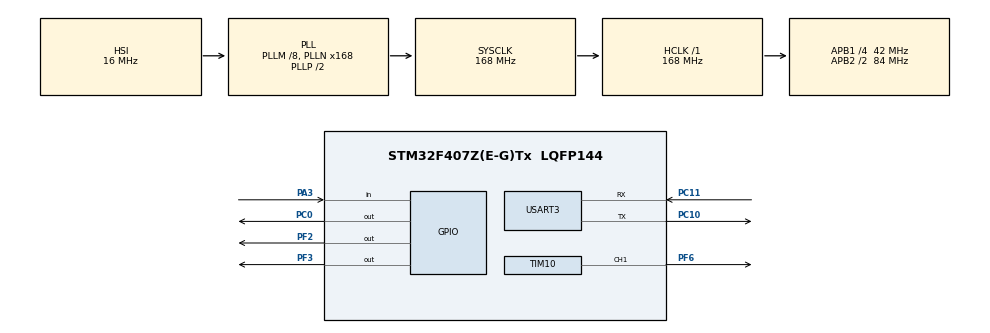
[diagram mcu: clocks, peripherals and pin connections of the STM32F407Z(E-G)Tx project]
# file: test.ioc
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Mcu.Family=STM32F4
Mcu.Name=STM32F407Z(E-G)Tx
Mcu.Package=LQFP144
NVIC.PriorityGroup=NVIC_PRIORITYGROUP_4
PA13.Mode=Serial_Wire
PA13.Signal=SYS_JTMS-SWDIO
PA14.Mode=Serial_Wire
PA14.Signal=SYS_JTCK-SWCLK
PA3.GPIO_PuPd=GPIO_PULLUP
PA3.Signal=GPIO_Input
PC0.PinState=GPIO_PIN_SET
PC0.Signal=GPIO_Output
PC10.Mode=Asynchronous
PC10.Signal=USART3_TX
PC11.Mode=Asynchronous
PC11.Signal=USART3_RX
PC14-OSC32_IN.Mode=LSE-External-Oscillator
PC14-OSC32_IN.Signal=RCC_OSC32_IN
PC15-OSC32_OUT.Mode=LSE-External-Oscillator
PC15-OSC32_OUT.Signal=RCC_OSC32_OUT
PF2.PinState=GPIO_PIN_SET
PF2.Signal=GPIO_Output
PF3.PinState=GPIO_PIN_SET
PF3.Signal=GPIO_Output
PF6.Signal=S_TIM10_CH1
PH0-OSC_IN.Mode=HSE-External-Oscillator
PH0-OSC_IN.Signal=RCC_OSC_IN
PH1-OSC_OUT.Mode=HSE-External-Oscillator
PH1-OSC_OUT.Signal=RCC_OSC_OUT
ProjectManager.HeapSize=0x200
ProjectManager.StackSize=0x400
ProjectManager.TargetToolchain=MDK-ARM V5.32
RCC.48MHZClocksFreq_Value=84000000
RCC.AHBFreq_Value=168000000
RCC.APB1CLKDivider=RCC_HCLK_DIV4
RCC.APB1Freq_Value=42000000
RCC.APB1TimFreq_Value=84000000
RCC.APB2CLKDivider=RCC_HCLK_DIV2
RCC.APB2Freq_Value=84000000
RCC.APB2TimFreq_Value=168000000
RCC.CortexFreq_Value=168000000
RCC.HCLKFreq_Value=168000000
RCC.HSE_VALUE=25000000
RCC.HSI_VALUE=16000000
RCC.PLLM=8
RCC.PLLN=168
RCC.RCC_RTC_Clock_Source=RCC_RTCCLKSOURCE_LSE
RCC.RCC_RTC_Clock_SourceVirtual=RCC_RTCCLKSOURCE_LSE
RCC.SYSCLKFreq_VALUE=168000000
RCC.SYSCLKSource=RCC_SYSCLKSOURCE_PLLCLK
RCC.VCOOutputFreq_Value=336000000
SH.S_TIM10_CH1.0=TIM10_CH1,PWM Generation1 CH1
TIM10.AutoReloadPreload=TIM_AUTORELOAD_PRELOAD_ENABLE
TIM10.Channel=TIM_CHANNEL_1
TIM10.Period=1999
TIM10.Prescaler=1679
USART3.VirtualMode=VM_ASYNC
VP_TIM10_VS_ClockSourceINT.Mode=Enable_Timer
board=custom

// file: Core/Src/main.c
/* USER CODE BEGIN Header */
/**
  ******************************************************************************
  * @file           : main.c
  * @brief          : Main program body
  ******************************************************************************
  * @attention
  *
  * Copyright (c) 2025 STMicroelectronics.
  * All rights reserved.
  *
  * This software is licensed under terms that can be found in the LICENSE file
  * in the root directory of this software component.
  * If no LICENSE file comes with this software, it is provided AS-IS.
  *
  ******************************************************************************
  */
/* USER CODE END Header */
#include "main.h"
#include "tim.h"
#include "usart.h"
#include "gpio.h"

/* USER CODE BEGIN Includes */
#include "stdio.h"
/* USER CODE END Includes */

void SystemClock_Config(void);

/* USER CODE BEGIN 0 */
int fputc(int ch, FILE *f)
{
    HAL_UART_Transmit(&huart3, (uint8_t *)&ch, 1, 1000);
    return ch;
}
/* USER CODE END 0 */

int main(void)
{

  /* USER CODE BEGIN 1 */
	uint32_t MotorOutput=0;
  /* USER CODE END 1 */

  /* MCU Configuration--------------------------------------------------------*/

  /* Reset of all peripherals, Initializes the Flash interface and the Systick. */
  HAL_Init();

  /* Configure the system clock */
  SystemClock_Config();

  /* Initialize all configured peripherals */
  MX_GPIO_Init();
  MX_TIM10_Init();
  MX_USART3_UART_Init();
  /* USER CODE BEGIN 2 */
	 HAL_TIM_PWM_Start(&htim10,TIM_CHANNEL_1);
	 HAL_GPIO_WritePin(GPIOC,GPIO_PIN_0,GPIO_PIN_SET);
	 HAL_GPIO_WritePin(GPIOF,GPIO_PIN_2,GPIO_PIN_RESET);
	 HAL_GPIO_WritePin(GPIOF,GPIO_PIN_3,GPIO_PIN_SET);
  /* USER CODE END 2 */

  /* Infinite loop */
  /* USER CODE BEGIN WHILE */
  while (1)
  {
		if(HAL_GPIO_ReadPin(GPIOA, GPIO_PIN_3) == GPIO_PIN_RESET)//检查按键是否按下
		{
				if(HAL_GPIO_ReadPin(GPIOA, GPIO_PIN_3) == GPIO_PIN_RESET) // 再次确认按下
				{
						MotorOutput += 500;
						if(MotorOutput > 2000) //判断是否大于最大值
								MotorOutput = 0;		//大于最大值清零
						while(HAL_GPIO_ReadPin(GPIOA, GPIO_PIN_3) == GPIO_PIN_RESET);//检查按键是否抬起
				}
		}
		__HAL_TIM_SetCompare(&htim10, TIM_CHANNEL_1, MotorOutput);	//改变PWM占空比
		printf("The MotorOutput is %d\n",MotorOutput);			//输出目前PWM占空比的值
		HAL_Delay(500);
    /* USER CODE END WHILE */

  }
}

void SystemClock_Config(void)
{
  RCC_OscInitTypeDef RCC_OscInitStruct = {0};
  RCC_ClkInitTypeDef RCC_ClkInitStruct = {0};

  /** Configure the main internal regulator output voltage
  */
  __HAL_RCC_PWR_CLK_ENABLE();
  __HAL_PWR_VOLTAGESCALING_CONFIG(PWR_REGULATOR_VOLTAGE_SCALE1);

  /** Initializes the RCC Oscillators according to the specified parameters
  * in the RCC_OscInitTypeDef structure.
  */
  RCC_OscInitStruct.OscillatorType = RCC_OSCILLATORTYPE_HSI;
  RCC_OscInitStruct.HSIState = RCC_HSI_ON;
  RCC_OscInitStruct.HSICalibrationValue = RCC_HSICALIBRATION_DEFAULT;
  RCC_OscInitStruct.PLL.PLLState = RCC_PLL_ON;
  RCC_OscInitStruct.PLL.PLLSource = RCC_PLLSOURCE_HSI;
  RCC_OscInitStruct.PLL.PLLM = 8;
  RCC_OscInitStruct.PLL.PLLN = 168;
  RCC_OscInitStruct.PLL.PLLP = RCC_PLLP_DIV2;
  RCC_OscInitStruct.PLL.PLLQ = 4;
  if (HAL_RCC_OscConfig(&RCC_OscInitStruct) != HAL_OK)
  {
    Error_Handler();
  }

  /** Initializes the CPU, AHB and APB buses clocks
  */
  RCC_ClkInitStruct.ClockType = RCC_CLOCKTYPE_HCLK|RCC_CLOCKTYPE_SYSCLK
                              |RCC_CLOCKTYPE_PCLK1|RCC_CLOCKTYPE_PCLK2;
  RCC_ClkInitStruct.SYSCLKSource = RCC_SYSCLKSOURCE_PLLCLK;
  RCC_ClkInitStruct.AHBCLKDivider = RCC_SYSCLK_DIV1;
  RCC_ClkInitStruct.APB1CLKDivider = RCC_HCLK_DIV4;
  RCC_ClkInitStruct.APB2CLKDivider = RCC_HCLK_DIV2;

  if (HAL_RCC_ClockConfig(&RCC_ClkInitStruct, FLASH_LATENCY_5) != HAL_OK)
  {
    Error_Handler();
  }
}

void Error_Handler(void)
{
  __disable_irq();
  while (1)
  {
  }
}
